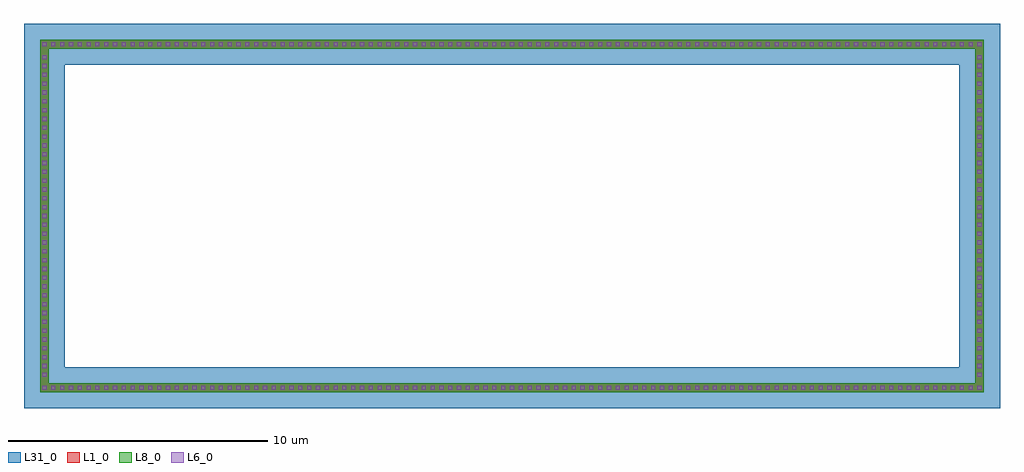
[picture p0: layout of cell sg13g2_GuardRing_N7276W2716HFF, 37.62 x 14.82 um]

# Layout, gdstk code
import gdstk
lib = gdstk.Library(unit=1e-6, precision=1e-09)
def R(c, l, rs):  # rectangles x0, y0, x1, y1
    for r in rs: c.add(gdstk.rectangle(r[:2], r[2:], *l))
def A(c, l, x, y, w, h, nx, ny, dx, dy):  # array of equal rectangles
    R(c, l, [(x+i*dx, y+j*dy, x+i*dx+w, y+j*dy+h) for i in range(nx) for j in range(ny)])
def P(c, l, *ps):  # polygons
    for p in ps: c.add(gdstk.Polygon(p, *l))
L1_0 = (1, 0)
L6_0 = (6, 0)
L8_0 = (8, 0)
L31_0 = (31, 0)

sg13g2_guardring_n7276w2 = lib.new_cell('sg13g2_GuardRing_N7276W2716HFF')
P(sg13g2_guardring_n7276w2, L1_0, [(-18.19,-6.79),(-18.19,6.45),(-17.85,6.45),(-17.85,-6.45),(17.85,-6.45),(17.85,6.45),(-18.19,6.45),(-18.19,6.79),(18.19,6.79),(18.19,-6.79)])
A(sg13g2_guardring_n7276w2, L6_0, -18.1, -6.7, 0.16, 0.16, 107, 2, 0.34, 13.24)
A(sg13g2_guardring_n7276w2, L6_0, -18.1, -6.2, 0.16, 0.16, 1, 37, 0, 0.34)
A(sg13g2_guardring_n7276w2, L6_0, 17.94, -6.2, 0.16, 0.16, 1, 37, 0, 0.34)
P(sg13g2_guardring_n7276w2, L8_0, [(-18.19,-6.79),(-18.19,6.45),(-17.85,6.45),(-17.85,-6.45),(17.85,-6.45),(17.85,6.45),(-18.19,6.45),(-18.19,6.79),(18.19,6.79),(18.19,-6.79)])
P(sg13g2_guardring_n7276w2, L31_0, [(-18.81,-7.41),(-18.81,5.83),(-17.23,5.83),(-17.23,-5.83),(17.23,-5.83),(17.23,5.83),(-18.81,5.83),(-18.81,7.41),(18.81,7.41),(18.81,-7.41)])

lib.write_gds('sg13g2_GuardRing_N7276W2716HFF.gds')
